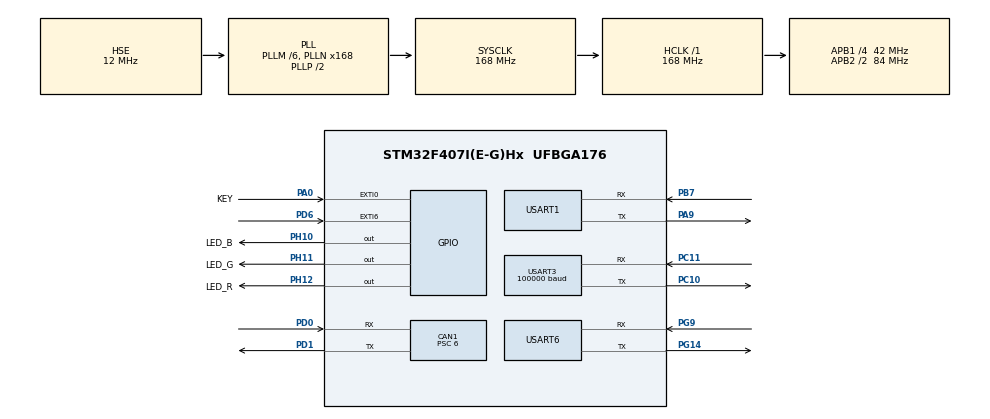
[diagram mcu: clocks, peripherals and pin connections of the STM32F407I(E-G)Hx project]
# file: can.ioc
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CAN1.BS1=CAN_BS1_6TQ
CAN1.BS2=CAN_BS2_7TQ
CAN1.CalculateBaudRate=500000
CAN1.CalculateTimeBit=2000
CAN1.CalculateTimeQuantum=142.85714285714286
CAN1.Prescaler=6
Mcu.Family=STM32F4
Mcu.Name=STM32F407I(E-G)Hx
Mcu.Package=UFBGA176
NVIC.CAN1_RX0_IRQn=true\:1\:0\:true\:false\:true\:true\:true\:true
NVIC.CAN1_RX1_IRQn=true\:0\:0\:false\:false\:true\:true\:true\:true
NVIC.EXTI0_IRQn=true\:0\:0\:false\:false\:true\:true\:true\:true
NVIC.PriorityGroup=NVIC_PRIORITYGROUP_4
NVIC.TIM1_UP_TIM10_IRQn=true\:0\:0\:false\:false\:true\:true\:true\:true
NVIC.USART1_IRQn=true\:0\:0\:false\:false\:true\:true\:true\:true
NVIC.USART3_IRQn=true\:0\:0\:false\:false\:true\:true\:true\:true
NVIC.USART6_IRQn=true\:1\:0\:true\:false\:true\:true\:true\:true
PA0-WKUP.GPIO_Label=KEY
PA0-WKUP.GPIO_ModeDefaultEXTI=GPIO_MODE_IT_FALLING
PA0-WKUP.GPIO_PuPd=GPIO_PULLUP
PA0-WKUP.Signal=GPXTI0
PA13.Mode=Serial_Wire
PA13.Signal=SYS_JTMS-SWDIO
PA14.Mode=Serial_Wire
PA14.Signal=SYS_JTCK-SWCLK
PA9.Mode=Asynchronous
PA9.Signal=USART1_TX
PB7.Mode=Asynchronous
PB7.Signal=USART1_RX
PC10.Mode=Asynchronous
PC10.Signal=USART3_TX
PC11.Mode=Asynchronous
PC11.Signal=USART3_RX
PC14-OSC32_IN.Mode=LSE-External-Oscillator
PC14-OSC32_IN.Signal=RCC_OSC32_IN
PC15-OSC32_OUT.Mode=LSE-External-Oscillator
PC15-OSC32_OUT.Signal=RCC_OSC32_OUT
PD0.Mode=CAN_Activate
PD0.Signal=CAN1_RX
PD1.Mode=CAN_Activate
PD1.Signal=CAN1_TX
PD6.Signal=GPXTI6
PG14.Mode=Asynchronous
PG14.Signal=USART6_TX
PG9.Mode=Asynchronous
PG9.Signal=USART6_RX
PH0-OSC_IN.Mode=HSE-External-Oscillator
PH0-OSC_IN.Signal=RCC_OSC_IN
PH1-OSC_OUT.Mode=HSE-External-Oscillator
PH1-OSC_OUT.Signal=RCC_OSC_OUT
PH10.GPIO_Label=LED_B
PH10.Signal=GPIO_Output
PH11.GPIO_Label=LED_G
PH11.Signal=GPIO_Output
PH12.GPIO_Label=LED_R
PH12.Signal=GPIO_Output
ProjectManager.HeapSize=0x200
ProjectManager.StackSize=0x400
ProjectManager.TargetToolchain=STM32CubeIDE
RCC.48MHZClocksFreq_Value=84000000
RCC.AHBFreq_Value=168000000
RCC.APB1CLKDivider=RCC_HCLK_DIV4
RCC.APB1Freq_Value=42000000
RCC.APB1TimFreq_Value=84000000
RCC.APB2CLKDivider=RCC_HCLK_DIV2
RCC.APB2Freq_Value=84000000
RCC.APB2TimFreq_Value=168000000
RCC.CortexFreq_Value=168000000
RCC.HCLKFreq_Value=168000000
RCC.HSE_VALUE=12000000
RCC.HSI_VALUE=16000000
RCC.PLLM=6
RCC.PLLN=168
RCC.PLLSourceVirtual=RCC_PLLSOURCE_HSE
RCC.SYSCLKFreq_VALUE=168000000
RCC.SYSCLKSource=RCC_SYSCLKSOURCE_PLLCLK
RCC.VCOOutputFreq_Value=336000000
TIM1.AutoReloadPreload=TIM_AUTORELOAD_PRELOAD_ENABLE
TIM1.Period=99
TIM1.Prescaler=16799
USART1.VirtualMode=VM_ASYNC
USART3.BaudRate=100000
USART3.Parity=PARITY_EVEN
USART3.VirtualMode=VM_ASYNC
USART6.VirtualMode=VM_ASYNC
VP_TIM1_VS_ClockSourceINT.Mode=Internal
board=custom

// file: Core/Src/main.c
/* USER CODE BEGIN Header */
/**
 ******************************************************************************
 * @file           : main.c
 * @brief          : Main program body
 ******************************************************************************
 * @attention
 *
 * <h2><center>&copy; Copyright (c) 2020 STMicroelectronics.
 * All rights reserved.</center></h2>
 *
 * This software component is licensed by ST under BSD 3-Clause license,
 * the "License"; You may not use this file except in compliance with the
 * License. You may obtain a copy of the License at:
 *                        opensource.org/licenses/BSD-3-Clause
 *
 ******************************************************************************
 */
/* USER CODE END Header */
#include "main.h"
#include "can.h"
#include "tim.h"
#include "usart.h"
#include "gpio.h"

/* USER CODE BEGIN Includes */
#include "chassis_subipc.h"
#include "controler.h"
#include "motor_can.h"
#include "string.h"
/* USER CODE END Includes */

/* USER CODE BEGIN PV */
int count = 0;
int stop_count = 0;
uint8_t RX[10];
uint8_t speed_data[10];
uint32_t ID = 0;
uint32_t ID1 = 0x601;
uint32_t ID2 = 0x602;
uint32_t ID3 = 0x603;
uint8_t ID1_Rx_Data_4;
uint8_t ID2_Rx_Data_4;
uint8_t ID3_Rx_Data_4;
uint8_t ID1_Rx_Data_5;
uint8_t ID2_Rx_Data_5;
uint8_t ID3_Rx_Data_5;
uint8_t rising_falling_flag = 0;
uint16_t test_state;
uint16_t test_flag = 0;
uint8_t jerk_process4 = 0;
uint8_t jerk_door = 0;
uint8_t jerk_triangle = 0;
uint8_t jerk_bia_bin = 0;
uint8_t flag_door = 0;
uint8_t flag_triangle = 0;
uint8_t flag_big_bin = 0;
uint8_t flag_door_goback = 0;
uint8_t flag_big_bin_and_triangle = 0;
uint8_t star = 0;
int len = 0;
int countmain = 0;
extern int target_rpm_left, target_rpm_right;
volatile bool device_responded = true;
uint32_t last_check_time = 0;
uint8_t data_buf[1 + 4 + 4 + 1] = {0};

float linear_x = 0.0;
float angular_z = 0.0;
uint8_t rx_flag = 0;
uint8_t send_speed_counter = 0;
extern union velo act_velo_left, act_velo_right;
float send_linear_vel = 0.0;  // 线速度值
float send_angular_vel = 0.0; // 角速度值
extern float left_speed_rpm;
extern float right_speed_rpm;
extern float WHEEL_BASE;
extern float r; // 轮子半径，单位m 0.131/2

/* USER CODE END PV */

void SystemClock_Config(void);
/* USER CODE BEGIN PFP */

int fputc(int ch, FILE *f)
{
    ITM_SendChar(ch);
    return ch;
    // while(!(USART1->SR & (1<<7)));
    // USART1->DR = ch;
    // return ch;
}
void HAL_GPIO_EXTI_Callback(uint16_t GPIO_Pin);
/* USER CODE END PFP */

/* USER CODE BEGIN 0 */
uint8_t rec[1024];
//---------------------------------AT9S_Control---------------------------------------------------//

//------------------------------------------------------------------------------------------------//
/* USER CODE END 0 */

int main(void)
{

    /* MCU Configuration--------------------------------------------------------*/

    /* Reset of all peripherals, Initializes the Flash interface and the Systick. */
    HAL_Init();

    /* Configure the system clock */
    SystemClock_Config();

    /* Initialize all configured peripherals */
    MX_GPIO_Init();
    MX_CAN1_Init();
    MX_USART1_UART_Init();
    MX_TIM1_Init();
    MX_USART6_UART_Init();
    MX_USART3_UART_Init();
    /* USER CODE BEGIN 2 */

    CAN1_Filter();
    HAL_CAN_ActivateNotification(&hcan1, CAN_IT_RX_FIFO0_MSG_PENDING);
    HAL_CAN_Start(&hcan1);
    printf("working !\r\n");
    HAL_UART_Receive_IT(&huart3, RX, 1);
    HAL_UART_Receive_IT(&huart6, speed_data, 10);

    HAL_TIM_Base_Start_IT(&htim1);
    // 检测can是否连接成功
    if (HAL_CAN_Start(&hcan1) == HAL_OK)
    {
        HAL_GPIO_WritePin(LED_G_GPIO_Port, LED_G_Pin, GPIO_PIN_SET);
    }
    else
    {
        HAL_GPIO_WritePin(LED_R_GPIO_Port, LED_R_Pin, GPIO_PIN_SET);
    }
    HAL_Delay(100);

    //	printf("initialization success\r\n");
    /* USER CODE END 2 */

    /* Infinite loop */
    /* USER CODE BEGIN WHILE */
    motor_enable(0x601); // 电机使能控制函数//紧接在速度模式初始化之后的，必须要
    HAL_Delay(100);
    // TPDO0_Setup() ;
    // 发送 NMT 启动命令（激活 PDO，Node-ID=1）
    CAN_TxHeaderTypeDef nmt_hdr;
    uint32_t tx_mailbox;
    uint8_t nmt_data[2] = {0x01, 0x01}; // 0x01=启动操作，0x01=Node-ID
    nmt_hdr.StdId = 0x000;              // NMT 命令 COB-ID 固定0x000
    nmt_hdr.RTR = CAN_RTR_DATA;
    nmt_hdr.DLC = 2;
    nmt_hdr.TransmitGlobalTime = DISABLE;
    if (HAL_CAN_AddTxMessage(&hcan1, &nmt_hdr, nmt_data, &tx_mailbox) != HAL_OK)
    {
        return HAL_ERROR;
    }
    HAL_Delay(1000);

    while (1)
    {
        // HAL_UART_Transmit(&huart6,&a,1,100);
        // if(rx_flag==1)
        // {
        //     rx_flag = 0;

        // }

        countmain++;

        // 发送实际速度20ms一次
        if (send_speed_counter >= 5)
        {
            send_speed_counter = 0;
            // 读取电机速度
            // read_motor_state(0x601);

            // 4. 步骤1：电机实际转速 → 左/右车轮实际线速度（m/s）
            float actual_wheel_v_left = (left_speed_rpm * 2 * 3.1415926 * r) / 60.0f;
            float actual_wheel_v_right = (right_speed_rpm * 2 * 3.1415926 * r) / 60.0f;

            // 5. 步骤2：车轮线速度 → 车辆实际线速度、角速度
            send_linear_vel = (actual_wheel_v_left + actual_wheel_v_right) / 2.0f;        // 线速度（平均）
            send_angular_vel = (actual_wheel_v_right - actual_wheel_v_left) / WHEEL_BASE; // 角速度（速度差/轮距）

            int index = 0;

            data_buf[index++] = 0xAA;

            // 存储线速度（float类型，4字节）
            memcpy(&data_buf[index], &send_linear_vel, 4);
            index += 4;

            // 存储角速度（float类型，4字节）
            memcpy(&data_buf[index], &send_angular_vel, 4);
            index += 4;

            // 添加帧尾
            data_buf[index++] = 0x55;

            if (huart6.gState == HAL_UART_STATE_READY)
            {
                HAL_UART_Transmit_IT(&huart6, data_buf, index);
            }
        }

        coffee_car_test();

        // HAL_Delay(1);

        HAL_GPIO_WritePin(LED_R_GPIO_Port, LED_R_Pin, GPIO_PIN_RESET);
        HAL_GPIO_WritePin(LED_G_GPIO_Port, LED_G_Pin, GPIO_PIN_RESET);
        HAL_GPIO_WritePin(LED_B_GPIO_Port, LED_B_Pin, GPIO_PIN_RESET);

        // 步进电机

        coffee_motor_control();

        if (test_flag == 1)
        {
            jerk_process = 3;
            test_location_2(0x603, 1);
        }
        if (test_flag == 2)
        {
            jerk_process = 2;
            test_location_2(0x603, 2);
        }
        if (test_flag == 7) // 消除报警
        {
            test_remove_alarm();
        }
        if (test_flag == 9) // 急停 打印电机状态和限位信号状态
        {
            soft_scram();
            read_motor_state_4();
            read_motor_state_5();
            jerk_process = 0;
            test_flag = 0;
        }
        if (test_flag == 111)
        {
            CAN_Tx_Data[0] = 0x2B;
            CAN_Tx_Data[1] = 0x40;
            CAN_Tx_Data[2] = 0x60;
            CAN_Tx_Data[3] = 0x00;
            CAN_Tx_Data[4] = 0x02;
            CAN_Tx_Data[5] = 0x00;
            CAN_Tx_Data[6] = 0x00;
            CAN_Tx_Data[7] = 0x00;
            CAN1_Tx(ID3, CAN_Tx_Data);
        }
        /* USER CODE END WHILE */

    }
}

void SystemClock_Config(void)
{
    RCC_OscInitTypeDef RCC_OscInitStruct = {0};
    RCC_ClkInitTypeDef RCC_ClkInitStruct = {0};

    /** Configure the main internal regulator output voltage
     */
    __HAL_RCC_PWR_CLK_ENABLE();
    __HAL_PWR_VOLTAGESCALING_CONFIG(PWR_REGULATOR_VOLTAGE_SCALE1);

    /** Initializes the RCC Oscillators according to the specified parameters
     * in the RCC_OscInitTypeDef structure.
     */
    RCC_OscInitStruct.OscillatorType = RCC_OSCILLATORTYPE_HSE;
    RCC_OscInitStruct.HSEState = RCC_HSE_ON;
    RCC_OscInitStruct.PLL.PLLState = RCC_PLL_ON;
    RCC_OscInitStruct.PLL.PLLSource = RCC_PLLSOURCE_HSE;
    RCC_OscInitStruct.PLL.PLLM = 6;
    RCC_OscInitStruct.PLL.PLLN = 168;
    RCC_OscInitStruct.PLL.PLLP = RCC_PLLP_DIV2;
    RCC_OscInitStruct.PLL.PLLQ = 4;
    if (HAL_RCC_OscConfig(&RCC_OscInitStruct) != HAL_OK)
    {
        Error_Handler();
    }

    /** Initializes the CPU, AHB and APB buses clocks
     */
    RCC_ClkInitStruct.ClockType = RCC_CLOCKTYPE_HCLK | RCC_CLOCKTYPE_SYSCLK | RCC_CLOCKTYPE_PCLK1 | RCC_CLOCKTYPE_PCLK2;
    RCC_ClkInitStruct.SYSCLKSource = RCC_SYSCLKSOURCE_PLLCLK;
    RCC_ClkInitStruct.AHBCLKDivider = RCC_SYSCLK_DIV1;
    RCC_ClkInitStruct.APB1CLKDivider = RCC_HCLK_DIV4;
    RCC_ClkInitStruct.APB2CLKDivider = RCC_HCLK_DIV2;

    if (HAL_RCC_ClockConfig(&RCC_ClkInitStruct, FLASH_LATENCY_5) != HAL_OK)
    {
        Error_Handler();
    }
}

/* USER CODE BEGIN 4 */
void HAL_GPIO_EXTI_Callback(uint16_t GPIO_Pin)
{
    if (1 == HAL_GPIO_ReadPin(GPIOA, GPIO_PIN_8))
    {
        //		HAL_Delay(10);
        HAL_GPIO_TogglePin(GPIOH, GPIO_PIN_11);
        rising_falling_flag++;
        if (rising_falling_flag > 2)
        {
            rising_falling_flag = 0;
        }
    }
}

void HAL_UART_TxCpltCallback(UART_HandleTypeDef *huart)
{
    if (huart->Instance == USART1)
    {
        printf("uart tx end\r\n");
    }
}

void HAL_UART_RxCpltCallback(UART_HandleTypeDef *huart)
{
    uint8_t ReBuff;
    //    if (huart->Instance == USART3)
    //    {
    //        ReBuff = RX[0];
    //        if (ReBuff == 0x0f)
    //        {
    //            len = 0;
    //            rec[0] = 0x0f;
    //        }
    //        if (rec[0] == 0x0f)
    //        {
    //            rec[len] = ReBuff;
    //        }
    //        len++;
    //        if (len >= 24)
    //        {
    //            if (len > 1000)
    //            {
    //                len = 0;
    //            }
    //            else
    //            {
    //                receive_data_handle();
    //            }
    //        }
    //        //		USART_SendData (UART1,ReBuff);
    //        //		printf(" %x \r\n",ReBuff);
    //        HAL_UART_Receive_IT(&huart3, RX, 1);
    //    }
    if (huart->Instance == USART6)
    {
        if (speed_data[0] == 0xAA && speed_data[9] == 0x55)
        {
            memcpy(&target_linear_velocity, &speed_data[1], 4);
            memcpy(&target_angular_velocity, &speed_data[5], 4);

            stop_count = 0;
        }
        HAL_UART_Receive_IT(&huart6, speed_data, 10);
        // printf("REV : %x\r\n", RX[0]);
        // if (RX[0] == 0x31)
        // {
        //     test_flag = 1;
        //     printf("1\r\n");
        // }
        // if (RX[0] == 0x32)
        // {
        //     test_flag = 2;
        //     printf("2\r\n");
        // }
        // if (RX[0] == 0x33)
        // {
        //     test_flag = 3;
        //     printf("3\r\n");
        // }
        // if (RX[0] == 0x34)
        // {
        //     test_flag = 4;
        //     printf("4\r\n");
        // }
        // if (RX[0] == 0x35)
        // {
        //     test_flag = 5;
        //     printf("5\r\n");
        // }
        // if (RX[0] == 0x36)
        // {
        //     test_flag = 6;
        //     printf("6\r\n");
        // }
        // if (RX[0] == 0x37)
        // {
        //     test_flag = 7;
        //     printf("7\r\n");
        // }
        // if (RX[0] == 0x38)
        // {
        //     test_flag = 8;
        //     printf("8\r\n");
        // }
        // if (RX[0] == 0x39)
        // {
        //     test_flag = 9;
        //     printf("9\r\n");
        // }
        // if (RX[0] == 0x40)
        // {
        //     test_flag = 10;
        //     printf("10\r\n");
        // }
        // HAL_UART_Receive_IT(&huart1, RX, 1);
        // printf("receive accomplish\r\n");
    }
}
void HAL_TIM_PeriodElapsedCallback(TIM_HandleTypeDef *htim)
{
    if (htim == &htim1) // 10ms 1次
    {
        stop_count++;
        send_speed_counter++;

        if (stop_count >= 50) // 0.5s
        {
            stop_count = 0;
            target_linear_velocity = 0;
            target_angular_velocity = 0;
        }
    }
}
/* USER CODE END 4 */

void Error_Handler(void)
{
}
